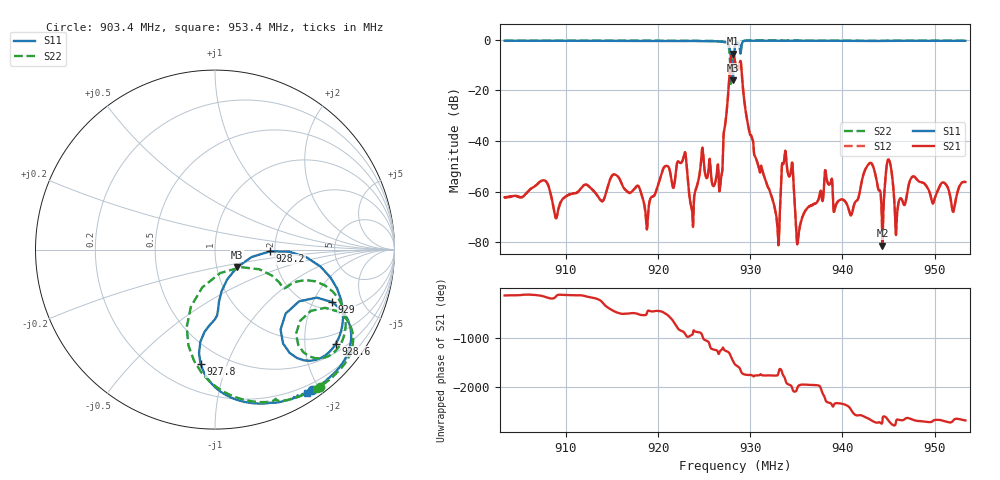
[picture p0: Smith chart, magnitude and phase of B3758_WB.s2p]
! Matrix data file written by TouchstoneData, EPCOS AG
! FILENAME: "B3758_WB.s2p"
! COMMENT: "un-matching S-parameters for B3758"
! INFO: nport=2, nfreq=1601
! DATE: "Tue Nov  6 09:40:48 2012"
! USER: "Eluer Wang"
! port | pin | signal
!  1  |  2  |  in
!  2  |  4  |  out
# MHZ S MA R 50
! freq  magS11 angS11  magS21 angS21  magS12 angS12  magS22 angS22
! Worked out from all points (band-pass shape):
!   1601 points, 903.4 MHz to 953.4 MHz, reference 50 ohm
!   highest |S21| = -5.57 dB at 928.1 MHz (marker M1); lowest = -81.3 dB at 944.4 MHz (marker M2)
!   |S21| within 3 dB of the highest: 927.8625 MHz to 928.3422 MHz (479.7 kHz wide, 0.0517 % of centre); 928.9028 MHz to 928.966 MHz (63.22 kHz wide, 0.00681 % of centre)
!   lowest |S11| = -16.1 dB at 928.1 MHz (marker M3), VSWR 1.37, Z = 62.6 - j12.6 ohm
!   |S11| at or under -10 dB: 928.0201 MHz to 928.1969 MHz (176.9 kHz wide, 0.0191 % of centre)
!   |S22| runs from -17.5 to -0.3 dB; largest |S21 - S12| = 0.0016
!   S11 on the Smith chart (normalised r, x): 903.4 MHz: 0.11, -1.90; 927.8 MHz: 0.37, -0.81; 928.2 MHz: 1.88, -0.04; 928.6 MHz: 0.71, -2.75; 929 MHz: 2.37, -2.85; 953.4 MHz: 0.11, -1.83
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903.35  0.9523 -55.4  0.0007758 -150.6  0.0007802 -151.3  0.961 -52.6
911.6938  0.9504 -56.3  0.001194 -148.9  0.001201 -148.9  0.9593 -53.4
918.7563  0.9477 -57.4  0.0002032 -163.4  0.0002078 -162.2  0.9568 -54.5
920.0375  0.9467 -57.7  0.00142 -101.9  0.001425 -101.9  0.9555 -54.8
926.7563  0.9239 -66.6  0.001408 177.3  0.001406 177.1  0.9301 -64.3
927.7875  0.6423 -97.2  0.2552 111.5  0.255 111.4  0.4599 -110.0
928.1313  0.1573 -38.6  0.5265 -27.9  0.5265 -28.0  0.4621 -25.0
928.1938  0.3069 -1.8  0.5062 -51.2  0.506 -51.4  0.532 -18.6
928.35  0.7143 -17.7  0.366 -96.4  0.3658 -96.5  0.7764 -23.9
928.5688  0.8533 -37.9  0.2622 -129.1  0.2622 -129.2  0.8764 -37.3
929.0375  0.7161 -24.1  0.2857 107.2  0.2855 107.1  0.7651 -26.8
932.9438  0.9548 -53.4  0.0002081 40.3  0.0002167 42.0  0.9632 -50.7
933.6938  0.9515 -54.1  0.004248 12.0  0.004251 12.0  0.9606 -51.1
935.1625  0.9533 -54.5  9.742e-05 168.0  0.0001017 165.6  0.9621 -51.7
936.6938  0.9523 -55.1  0.0005428 -152.0  0.0005464 -152.6  0.9614 -52.2
940.9438  0.9479 -56.3  0.0003433 68.4  0.0003463 67.9  0.9569 -53.3
943.0375  0.9395 -56.1  0.003697 -130.3  0.003709 -130.3  0.9502 -53.0
944.35  0.9463 -56.1  8.642e-05 -154.6  8.428e-05 -155.3  0.9555 -53.1
945.0375  0.9447 -56.1  0.004278 -157.4  0.004274 -157.5  0.9548 -53.0
945.8813  0.9497 -56.2  0.0002466 -137.5  0.000241 -135.8  0.9593 -53.2
947.6313  0.9497 -56.5  0.002 -130.6  0.001992 -130.8  0.959 -53.5
953.35  0.9495 -57.2  0.001555 -145.8  0.001546 -145.9  0.9592 -54.1
